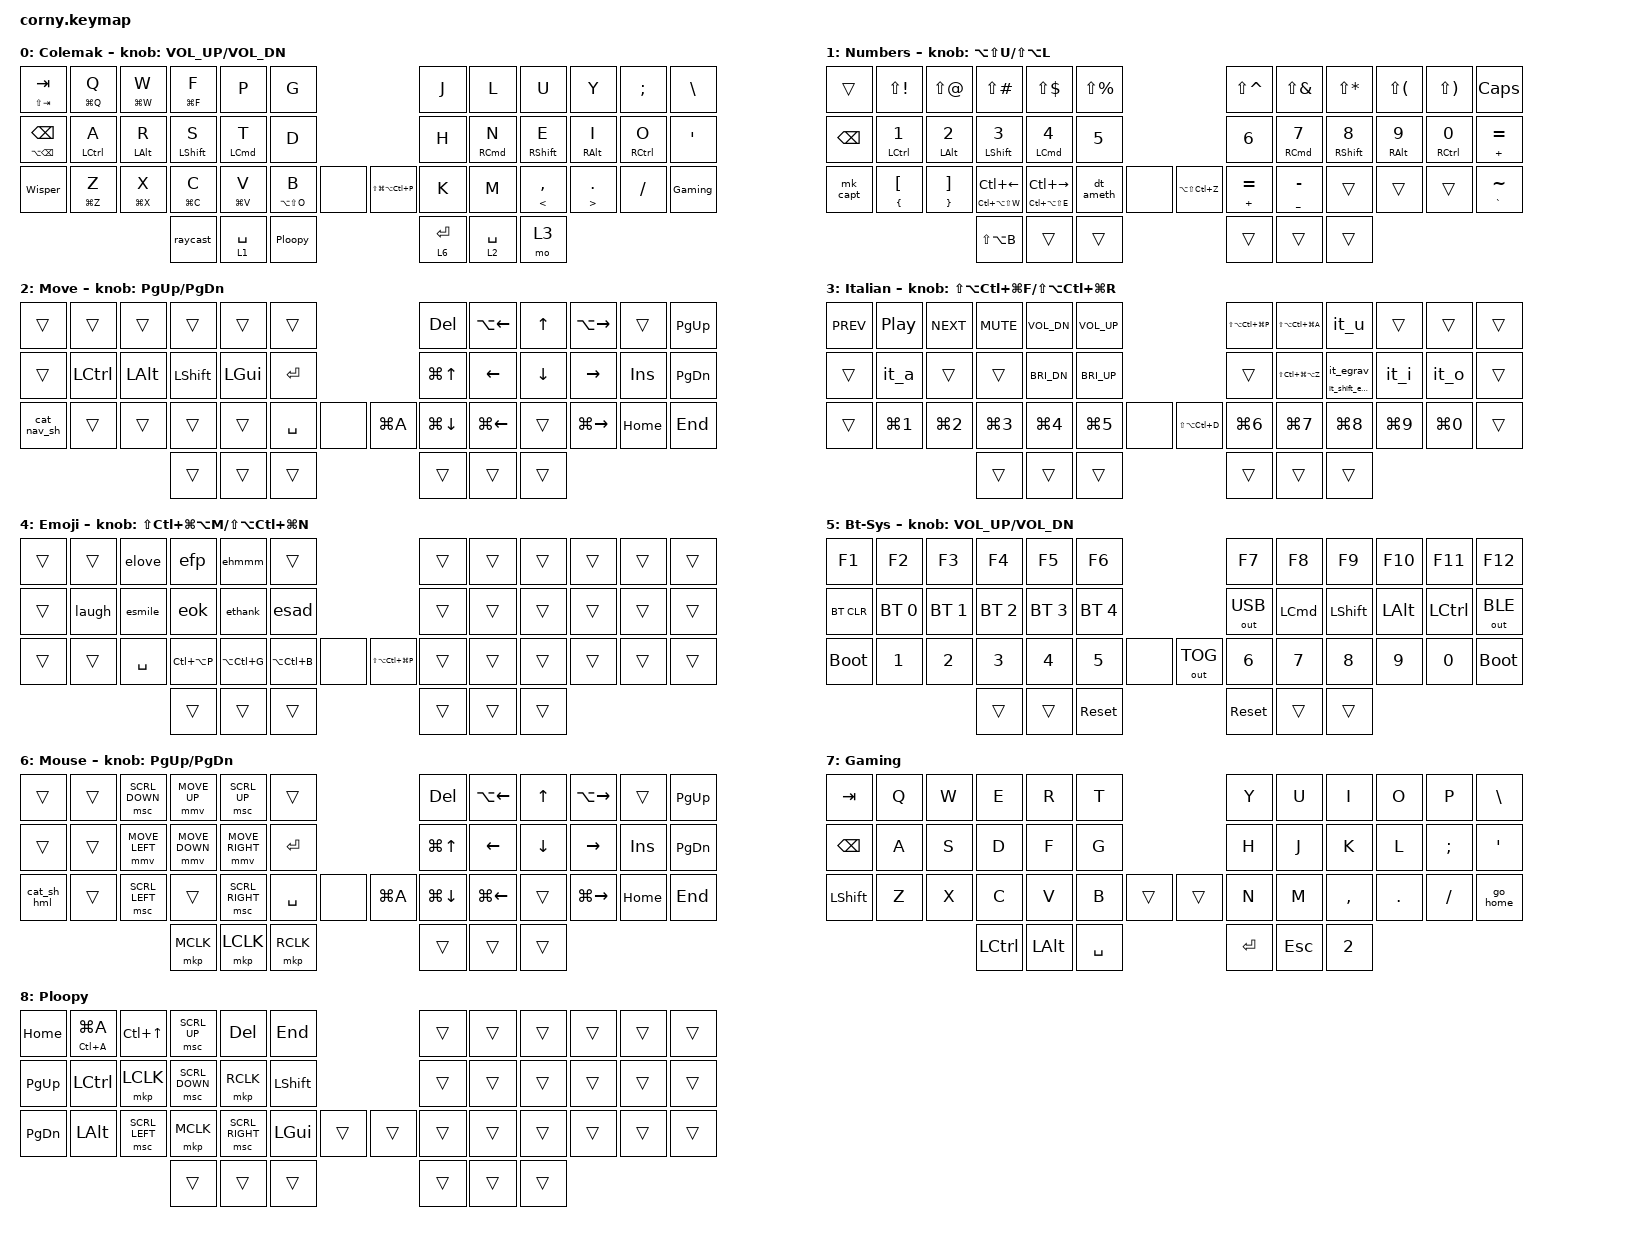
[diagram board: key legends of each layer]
#define ZMK_POINTING_DEFAULT_MOVE_VAL 1200  // default: 600 , prev: 1000
#define ZMK_POINTING_DEFAULT_SCRL_VAL 20    // default: 10

#include <behaviors.dtsi>
#include <dt-bindings/zmk/bt.h>
#include <dt-bindings/zmk/keys.h>
#include <dt-bindings/zmk/outputs.h>
#include <dt-bindings/zmk/pointing.h>

&mmv {
    acceleration-exponent = <1>;
    time-to-max-speed-ms = <500>;
    trigger-period-ms = <16>;
};

/ {
    behaviors {
        ht_bck: ht_bck {
            compatible = "zmk,behavior-hold-tap";
            label = "HT_BCK";
            bindings = <&kp>, <&kp>;

            #binding-cells = <2>;
            tapping-term-ms = <145>;
            quick-tap-ms = <0>;
            require-prior-idle-ms = <140>;
            flavor = "balanced";
            hold-trigger-key-positions = <12>;
        };

        ht: ht {
            compatible = "zmk,behavior-hold-tap";
            label = "HT";
            bindings = <&kp>, <&kp>;

            #binding-cells = <2>;
            tapping-term-ms = <145>;
            quick-tap-ms = <50>;
            require-prior-idle-ms = <50>;
            flavor = "balanced";
        };

        lhmrow: lhmrow {
            compatible = "zmk,behavior-hold-tap";
            label = "LHMROW";
            bindings = <&kp>, <&kp>;

            #binding-cells = <2>;
            tapping-term-ms = <170>;
            quick-tap-ms = <30>;
            require-prior-idle-ms = <100>;
            flavor = "balanced";
            hold-trigger-key-positions = <6 7 8 9 10 11 18 19 20 21 22 23 32 33 34 35 36 37 41 42 43 0>;
        };

        rhmrow: rhmrow {
            compatible = "zmk,behavior-hold-tap";
            label = "RHMROW";
            bindings = <&kp>, <&kp>;

            #binding-cells = <2>;
            tapping-term-ms = <170>;
            quick-tap-ms = <30>;
            require-prior-idle-ms = <100>;
            flavor = "balanced";
            hold-trigger-key-positions = <0 1 2 3 4 5 12 13 14 15 16 17 24 25 26 27 28 29 38 39 40>;
        };

        mk_capt: mk_capt {
            compatible = "zmk,behavior-tap-dance";
            label = "MK_CAPT";
            #binding-cells = <0>;
            bindings =
                <&ht LS(LC(LG(N4))) LS(LG(N2))>,
                <&ht LG(LS(N5)) LG(LS(N4))>;

            tapping-term-ms = <185>;
        };

        it_e: it_e {
            compatible = "zmk,behavior-hold-tap";
            label = "IT_E";
            bindings = <&it_shift_egrav>, <&it_egrav>;

            #binding-cells = <2>;
            tapping-term-ms = <145>;
            quick-tap-ms = <50>;
            require-prior-idle-ms = <50>;
            flavor = "balanced";
        };

        dt_ameth: dt_ameth {
            compatible = "zmk,behavior-tap-dance";
            label = "DT_AMETH";
            #binding-cells = <0>;
            bindings = <&kp LA(LS(O))>, <&kp LA(LS(D))>, <&kp LA(LS(LC(J)))>;

            tapping-term-ms = <185>;
        };

        cat_nav_sh: cat_nav_sh {
            compatible = "zmk,behavior-tap-dance";
            label = "CAT_NAV_SH";
            #binding-cells = <0>;
            bindings = <&ht LEFT_SHIFT LS(LA(LG(SLASH)))>, <&to 6>;

            tapping-term-ms = <200>;
        };

        cat_sh_hml: cat_sh_hml {
            compatible = "zmk,behavior-tap-dance";
            label = "CAT_SH_HML";
            #binding-cells = <0>;
            tapping-term-ms = <220>;
            bindings = <&ht LEFT_SHIFT LS(LA(LG(SLASH)))>, <&to 0>;
        };

        raycast: raycast {
            compatible = "zmk,behavior-tap-dance";
            label = "RAYCAST";
            #binding-cells = <0>;
            bindings = <&lt 4 LG(SPACE)>, <&kp LC(LG(SPACE))>;

            tapping-term-ms = <200>;
        };

        Gaming: Gaming {
            compatible = "zmk,behavior-tap-dance";
            label = "GAMING";
            #binding-cells = <0>;
            bindings = <&kp LA(LC(G))>, <&to 7>;

            tapping-term-ms = <175>;
        };

        go_home: go_home {
            compatible = "zmk,behavior-tap-dance";
            label = "GO_HOME";
            #binding-cells = <0>;
            bindings = <&kp RIGHT_SHIFT>, <&to 0>;
        };

        Ploopy: Ploopy {
            compatible = "zmk,behavior-tap-dance";
            label = "PLOOPY";
            #binding-cells = <0>;
            bindings = <&ht LGUI ENTER>, <&mo 8>;

            tapping-term-ms = <185>;
        };

        qwfp: qwfp {
            compatible = "zmk,behavior-hold-tap";
            label = "QWFP";
            bindings = <&kp>, <&kp>;

            #binding-cells = <2>;
            tapping-term-ms = <200>;
            quick-tap-ms = <50>;
            require-prior-idle-ms = <50>;
            flavor = "tap-preferred";
        };

        Wisper: Wisper {
            compatible = "zmk,behavior-tap-dance";
            label = "WISPER";
            #binding-cells = <0>;
            bindings =
                <&ht_bck LA(LC(G)) LC(LA(B))>,
                <&ht_bck LA(LC(P)) LC(ENTER)>;

            tapping-term-ms = <175>;
        };
    };

    combos {
        compatible = "zmk,combos";

        Escape {
            bindings = <&kp ESCAPE>;
            key-positions = <3 2>;
            timeout-ms = <30>;
            require-prior-idle-ms = <50>;
            layers = <0 1 2>;
        };

        Cut {
            bindings = <&kp LG(X)>;
            key-positions = <25 26>;
            timeout-ms = <30>;
            require-prior-idle-ms = <50>;
            layers = <0 1 2>;
        };

        Copy {
            bindings = <&kp LG(C)>;
            key-positions = <26 27>;
            timeout-ms = <30>;
            require-prior-idle-ms = <50>;
            layers = <0 1 2>;
        };

        Paste {
            bindings = <&kp LG(V)>;
            key-positions = <27 28>;
            timeout-ms = <30>;
            require-prior-idle-ms = <50>;
            layers = <0 1 2>;
        };

        Del {
            bindings = <&kp DELETE>;
            key-positions = <3 4>;
            timeout-ms = <30>;
            require-prior-idle-ms = <50>;
            layers = <0 1 2>;
        };

        toLayerZero {
            bindings = <&to 0>;
            key-positions = <24 25>;
            timeout-ms = <30>;
            require-prior-idle-ms = <50>;
            layers = <0 1 2 6>;
        };

        cmd_shift_left {
            bindings = <&kp LG(LSHIFT)>;
            key-positions = <15 16>;
            timeout-ms = <30>;
            require-prior-idle-ms = <50>;
            layers = <0 1>;
        };

        cmd_shift_right {
            bindings = <&kp RG(LSHIFT)>;
            key-positions = <20 19>;
            timeout-ms = <30>;
            require-prior-idle-ms = <50>;
            layers = <0 1>;
        };

        ctrl_cmd_left {
            bindings = <&kp LC(LCMD)>;
            key-positions = <16 13>;
            timeout-ms = <30>;
            require-prior-idle-ms = <50>;
            layers = <0 1>;
        };

        cmd_ctrl_right {
            bindings = <&kp RC(RCMD)>;
            key-positions = <19 22>;
            timeout-ms = <30>;
            require-prior-idle-ms = <50>;
            layers = <0 1>;
        };

        alt_cmd_right {
            bindings = <&kp RA(RCMD)>;
            key-positions = <19 21>;
            timeout-ms = <30>;
            require-prior-idle-ms = <50>;
            layers = <0 1>;
        };

        alt_cmd_left {
            bindings = <&kp LA(LCMD)>;
            key-positions = <16 14>;
            timeout-ms = <30>;
            require-prior-idle-ms = <50>;
            layers = <0 1>;
        };

        alt+shift-left {
            bindings = <&kp LA(LEFT_SHIFT)>;
            key-positions = <14 15>;
            timeout-ms = <30>;
            require-prior-idle-ms = <50>;
            layers = <0 1>;
        };

        alt+shift-right {
            bindings = <&kp RA(RIGHT_SHIFT)>;
            key-positions = <20 21>;
            timeout-ms = <30>;
            require-prior-idle-ms = <50>;
            layers = <1 0>;
        };

        shortcat {
            bindings = <&kp LS(LA(LG(SLASH)))>;
            key-positions = <7 8>;
            layers = <0 2 1>;
            timeout-ms = <30>;
            require-prior-idle-ms = <50>;
        };

        ctrl-alt-sh-left {
            bindings = <&kp LA(LC(LEFT_SHIFT))>;
            key-positions = <14 15 13>;
            timeout-ms = <30>;
            require-prior-idle-ms = <50>;
            layers = <0 1>;
        };

        ctrl-alt-sh-right {
            bindings = <&kp LA(LC(LEFT_SHIFT))>;
            key-positions = <20 21 22>;
            timeout-ms = <30>;
            require-prior-idle-ms = <50>;
            layers = <0 1>;
        };

        ShortCat2 {
            bindings = <&kp LS(LA(LG(SLASH)))>;
            key-positions = <8 9>;
            timeout-ms = <30>;
            require-prior-idle-ms = <50>;
            layers = <0 2 1>;
        };
    };

    macros {
        it_egrav: it_egrav {
            compatible = "zmk,behavior-macro";
            #binding-cells = <0>;
            bindings = <&kp LA(GRAVE) &kp E>;
            label = "IT_EGRAV";
            wait-ms = <30>;
        };

        it_shift_egrav: it_shift_egrav {
            compatible = "zmk,behavior-macro";
            #binding-cells = <0>;
            bindings = <&kp LA(E) &kp E>;
            label = "IT_SHIFT_EGRAV";
            wait-ms = <30>;
        };

        it_i: it_i {
            compatible = "zmk,behavior-macro";
            #binding-cells = <0>;
            bindings = <&kp LA(GRAVE) &kp I>;
            label = "IT_I";
            wait-ms = <30>;
        };

        it_o: it_o {
            compatible = "zmk,behavior-macro";
            #binding-cells = <0>;
            bindings = <&kp LA(GRAVE) &kp O>;
            label = "IT_O";
            wait-ms = <30>;
        };

        it_u: it_u {
            compatible = "zmk,behavior-macro";
            #binding-cells = <0>;
            bindings = <&kp LA(GRAVE) &kp U>;
            label = "IT_U";
            wait-ms = <30>;
        };

        it_a: it_a {
            compatible = "zmk,behavior-macro";
            #binding-cells = <0>;
            bindings = <&kp LA(GRAVE) &kp A>;
            label = "IT_A";
            wait-ms = <30>;
        };

        efp: efp {
            compatible = "zmk,behavior-macro";
            #binding-cells = <0>;
            bindings = <&kp UNDER &kp F &kp P>;
            label = "EFP";
            wait-ms = <20>;
        };

        laugh: laugh {
            compatible = "zmk,behavior-macro";
            #binding-cells = <0>;
            bindings = <&kp UNDER &kp L &kp A>;
            label = "LAUGH";
            wait-ms = <20>;
        };

        eok: eok {
            compatible = "zmk,behavior-macro";
            #binding-cells = <0>;
            bindings = <&kp UNDER &kp O &kp K>;
            label = "EOK";
            wait-ms = <20>;
        };

        ethank: ethank {
            compatible = "zmk,behavior-macro";
            #binding-cells = <0>;
            bindings = <&kp UNDER &kp T &kp H>;
            label = "ETHANK";
            wait-ms = <20>;
        };

        esmile: esmile {
            compatible = "zmk,behavior-macro";
            #binding-cells = <0>;
            bindings = <&kp UNDER &kp S &kp M>;
            label = "ESMILE";
            wait-ms = <20>;
        };

        esad: esad {
            compatible = "zmk,behavior-macro";
            #binding-cells = <0>;
            bindings = <&kp UNDER &kp S &kp A &kp D>;
            label = "ESAD";
            wait-ms = <20>;
        };

        elove: elove {
            compatible = "zmk,behavior-macro";
            #binding-cells = <0>;
            bindings = <&kp UNDER &kp L &kp V>;
            label = "ELOVE";
            wait-ms = <20>;
        };

        ehmmm: ehmmm {
            compatible = "zmk,behavior-macro";
            #binding-cells = <0>;
            bindings = <&kp UNDER &kp H &kp M>;
            label = "EHMMM";
            wait-ms = <20>;
        };

        ecoffe: ecoffe {
            compatible = "zmk,behavior-macro";
            #binding-cells = <0>;
            bindings = <&kp UNDER &kp C &kp F>;
            label = "ECOFFE";
            wait-ms = <20>;
        };

        doublecmd: doublecmd {
            compatible = "zmk,behavior-macro";
            #binding-cells = <0>;
            bindings = <&kp LCMD &kp LCMD>;
            label = "DOUBLECMD";
            wait-ms = <20>;
        };

        doublectrl: doublectrl {
            compatible = "zmk,behavior-macro";
            #binding-cells = <0>;
            bindings = <&kp LCTRL &kp LCTRL>;
            label = "DOUBLECTRL";
            wait-ms = <50>;
        };
    };

    keymap {
        compatible = "zmk,keymap";

        Colemak {
            bindings = <
&ht LS(TAB) TAB             &qwfp LG(Q) Q    &qwfp LG(W) W   &qwfp LG(F) F         &kp P           &kp G                                          &kp J        &kp L           &kp U                  &kp Y                    &kp SEMI         &kp BSLH
&ht_bck LA(BSPC) BACKSPACE  &lhmrow LCTRL A  &lhmrow LALT R  &lhmrow LEFT_SHIFT S  &lhmrow LCMD T  &kp D                                          &kp H        &rhmrow RCMD N  &rhmrow RIGHT_SHIFT E  &rhmrow RIGHT_ALT I      &rhmrow RCTRL O  &kp SQT
&Wisper                     &ht LG(Z) Z      &ht LG(X) X     &ht LG(C) C           &ht LG(V) V     &ht LA(LS(O)) B  &none  &kp LS(LG(LA(LC(P))))  &kp K        &kp M           &ht LESS_THAN COMMA    &ht GREATER_THAN PERIOD  &kp FSLH         &Gaming
                                                             &raycast              &lt 1 SPACE     &Ploopy                                        &lt 6 ENTER  &lt 2 SPACE     &mo 3
            >;

            sensor-bindings = <&inc_dec_kp C_VOL_UP C_VOL_DN>;
            label = "Colemak";
        };

        Numbers {
            bindings = <
&trans         &kp LS(EXCL)                 &kp LS(AT)                     &kp LS(POUND)               &kp LS(DLLR)                 &kp LS(PRCNT)                            &kp LS(CARET)   &kp LS(AMPS)          &kp LS(STAR)       &kp LS(LPAR)          &kp LS(RPAR)      &kp CAPSLOCK
&kp BACKSPACE  &lhmrow LCTRL N1             &lhmrow LEFT_ALT N2            &lhmrow LEFT_SHIFT N3       &lhmrow LCMD N4              &kp N5                                   &kp N6          &rhmrow RCMD N7       &rhmrow RSHIFT N8  &rhmrow RIGHT_ALT N9  &rhmrow RCTRL N0  &ht PLUS EQUAL
&mk_capt       &ht LEFT_BRACE LEFT_BRACKET  &ht RIGHT_BRACE RIGHT_BRACKET  &ht LC(LA(LS(W))) LC(LEFT)  &ht LC(LA(LS(E))) LC(RIGHT)  &dt_ameth      &none  &kp LA(LS(LC(Z)))  &ht PLUS EQUAL  &ht UNDERSCORE MINUS  &trans             &trans                &trans            &ht GRAVE TILDE
                                                                           &kp LS(LA(B))               &trans                       &trans                                   &trans          &trans                &trans
            >;

            sensor-bindings = <&inc_dec_kp LA(LS(U)) LS(LA(L))>;
            label = "Numbers";
        };

        Move {
            bindings = <
&trans       &trans     &trans        &trans          &trans        &trans                       &kp DEL       &kp LA(LEFT)  &kp UP    &kp LA(RIGHT)  &trans    &kp PAGE_UP
&trans       &kp LCTRL  &kp LEFT_ALT  &kp LEFT_SHIFT  &kp LEFT_GUI  &kp ENTER                    &kp LG(UP)    &kp LEFT      &kp DOWN  &kp RIGHT      &kp INS   &kp PAGE_DOWN
&cat_nav_sh  &trans     &trans        &trans          &trans        &kp SPACE  &none  &kp LG(A)  &kp LG(DOWN)  &kp LG(LEFT)  &trans    &kp LG(RIGHT)  &kp HOME  &kp END
                                      &trans          &trans        &trans                       &trans        &trans        &trans
            >;

            sensor-bindings = <&inc_dec_kp PAGE_UP PAGE_DOWN>;
            label = "Move";
        };

        Italian {
            bindings = <
&kp C_PREV  &kp C_PP          &kp C_NEXT  &kp K_MUTE  &kp C_VOL_DN  &kp C_VOL_UP                            &kp LS(LA(LC(LG(P))))  &kp LS(LA(LC(LG(A))))  &it_u       &trans      &trans      &trans
&trans      &it_a             &trans      &trans      &kp C_BRI_DN  &kp C_BRI_UP                            &trans                 &kp LS(LC(LG(LA(Z))))  &it_e 0 0   &it_i       &it_o       &trans
&trans      &kp LG(NUMBER_1)  &kp LG(N2)  &kp LG(N3)  &kp LG(N4)    &kp LG(N5)    &none  &kp LS(LA(LC(D)))  &kp LG(N6)             &kp LG(N7)             &kp LG(N8)  &kp LG(N9)  &kp LG(N0)  &trans
                                          &trans      &trans        &trans                                  &trans                 &trans                 &trans
            >;

            sensor-bindings = <&inc_dec_kp LS(LA(LC(LG(F)))) LS(LA(LC(LG(R))))>;
            label = "Italian";
        };

        Emoji {
            bindings = <
&trans  &trans  &elove     &efp           &ehmmm         &trans                                       &trans  &trans  &trans  &trans  &trans  &trans
&trans  &laugh  &esmile    &eok           &ethank        &esad                                        &trans  &trans  &trans  &trans  &trans  &trans
&trans  &trans  &kp SPACE  &kp LC(LA(P))  &kp LA(LC(G))  &kp LA(LC(B))  &none  &kp LS(LA(LC(LG(P))))  &trans  &trans  &trans  &trans  &trans  &trans
                           &trans         &trans         &trans                                       &trans  &trans  &trans
            >;

            sensor-bindings = <&inc_dec_kp LS(LC(LG(LA(M)))) LS(LA(LC(LG(N))))>;
            label = "Emoji";
        };

        Bt_Sys {
            label = "Bt-Sys";
            bindings = <
&kp F1       &kp F2        &kp F3        &kp F4        &kp F5        &kp F6                             &kp F7        &kp F8    &kp F9          &kp F10   &kp F11    &kp F12
&bt BT_CLR   &bt BT_SEL 0  &bt BT_SEL 1  &bt BT_SEL 2  &bt BT_SEL 3  &bt BT_SEL 4                       &out OUT_USB  &kp LCMD  &kp LEFT_SHIFT  &kp LALT  &kp LCTRL  &out OUT_BLE
&bootloader  &kp N1        &kp N2        &kp N3        &kp N4        &kp N5        &none  &out OUT_TOG  &kp N6        &kp N7    &kp N8          &kp N9    &kp N0     &bootloader
                                         &trans        &trans        &sys_reset                         &sys_reset    &trans    &trans
            >;

            sensor-bindings = <&inc_dec_kp C_VOL_UP C_VOL_DN>;
        };

        Mouse {
            label = "Mouse";
            bindings = <
&trans       &trans  &msc SCRL_DOWN  &mmv MOVE_UP    &msc SCRL_UP     &trans                       &kp DEL       &kp LA(LEFT)  &kp UP    &kp LA(RIGHT)  &trans    &kp PAGE_UP
&trans       &trans  &mmv MOVE_LEFT  &mmv MOVE_DOWN  &mmv MOVE_RIGHT  &kp ENTER                    &kp LG(UP)    &kp LEFT      &kp DOWN  &kp RIGHT      &kp INS   &kp PAGE_DOWN
&cat_sh_hml  &trans  &msc SCRL_LEFT  &trans          &msc SCRL_RIGHT  &kp SPACE  &none  &kp LG(A)  &kp LG(DOWN)  &kp LG(LEFT)  &trans    &kp LG(RIGHT)  &kp HOME  &kp END
                                     &mkp MCLK       &mkp LCLK        &mkp RCLK                    &trans        &trans        &trans
            >;

            sensor-bindings = <&inc_dec_kp PAGE_UP PAGE_DOWN>;
        };

        Gaming {
            bindings = <
&kp TAB    &kp Q  &kp W  &kp E      &kp R     &kp T                      &kp Y      &kp U       &kp I      &kp O    &kp P     &kp BSLH
&kp BSPC   &kp A  &kp S  &kp D      &kp F     &kp G                      &kp H      &kp J       &kp K      &kp L    &kp SEMI  &kp APOS
&kp LSHFT  &kp Z  &kp X  &kp C      &kp V     &kp B      &trans  &trans  &kp N      &kp M       &kp COMMA  &kp DOT  &kp FSLH  &go_home
                         &kp LCTRL  &kp LALT  &kp SPACE                  &kp ENTER  &kp ESCAPE  &kp N2
            >;
        };

        Ploopy {
            bindings = <
&kp HOME       &ht LC(A) LG(A)  &kp LC(UP_ARROW)  &msc SCRL_UP    &kp DELETE       &kp END                    &trans  &trans  &trans  &trans  &trans  &trans
&kp PG_UP      &kp LCTRL        &mkp LCLK         &msc SCRL_DOWN  &mkp RCLK        &kp LSHFT                  &trans  &trans  &trans  &trans  &trans  &trans
&kp PAGE_DOWN  &kp LALT         &msc SCRL_LEFT    &mkp MCLK       &msc SCRL_RIGHT  &kp LGUI   &trans  &trans  &trans  &trans  &trans  &trans  &trans  &trans
                                                  &trans          &trans           &trans                     &trans  &trans  &trans
            >;
        };
    };

    conditional_layers {
        compatible = "zmk,conditional-layers";

        Bt-Sys {
            if-layers = <3 4>;
            then-layer = <5>;
        };
    };
};
